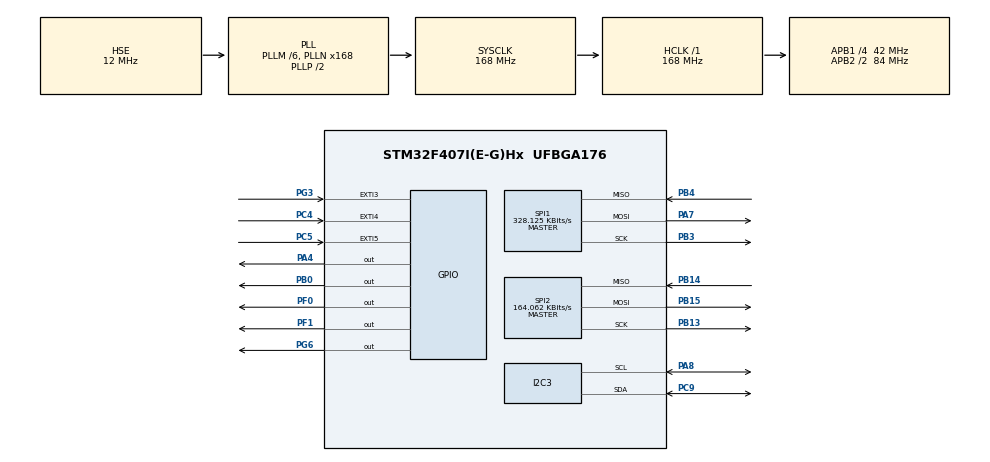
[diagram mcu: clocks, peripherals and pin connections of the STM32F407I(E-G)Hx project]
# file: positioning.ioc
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Dma.Request0=SPI1_RX
Dma.Request1=SPI1_TX
Dma.Request2=SPI2_RX
Dma.Request3=SPI2_TX
Dma.SPI1_RX.0.Direction=DMA_PERIPH_TO_MEMORY
Dma.SPI1_RX.0.FIFOMode=DMA_FIFOMODE_DISABLE
Dma.SPI1_RX.0.Instance=DMA2_Stream2
Dma.SPI1_RX.0.MemDataAlignment=DMA_MDATAALIGN_BYTE
Dma.SPI1_RX.0.MemInc=DMA_MINC_ENABLE
Dma.SPI1_RX.0.Mode=DMA_NORMAL
Dma.SPI1_RX.0.PeriphDataAlignment=DMA_PDATAALIGN_BYTE
Dma.SPI1_RX.0.PeriphInc=DMA_PINC_DISABLE
Dma.SPI1_RX.0.Priority=DMA_PRIORITY_HIGH
Dma.SPI1_TX.1.Direction=DMA_MEMORY_TO_PERIPH
Dma.SPI1_TX.1.FIFOMode=DMA_FIFOMODE_DISABLE
Dma.SPI1_TX.1.Instance=DMA2_Stream3
Dma.SPI1_TX.1.MemDataAlignment=DMA_MDATAALIGN_BYTE
Dma.SPI1_TX.1.MemInc=DMA_MINC_ENABLE
Dma.SPI1_TX.1.Mode=DMA_NORMAL
Dma.SPI1_TX.1.PeriphDataAlignment=DMA_PDATAALIGN_BYTE
Dma.SPI1_TX.1.PeriphInc=DMA_PINC_DISABLE
Dma.SPI1_TX.1.Priority=DMA_PRIORITY_HIGH
Dma.SPI2_RX.2.Direction=DMA_PERIPH_TO_MEMORY
Dma.SPI2_RX.2.FIFOMode=DMA_FIFOMODE_DISABLE
Dma.SPI2_RX.2.Instance=DMA1_Stream3
Dma.SPI2_RX.2.MemDataAlignment=DMA_MDATAALIGN_BYTE
Dma.SPI2_RX.2.MemInc=DMA_MINC_ENABLE
Dma.SPI2_RX.2.Mode=DMA_NORMAL
Dma.SPI2_RX.2.PeriphDataAlignment=DMA_PDATAALIGN_BYTE
Dma.SPI2_RX.2.PeriphInc=DMA_PINC_DISABLE
Dma.SPI2_RX.2.Priority=DMA_PRIORITY_HIGH
Dma.SPI2_TX.3.Direction=DMA_MEMORY_TO_PERIPH
Dma.SPI2_TX.3.FIFOMode=DMA_FIFOMODE_DISABLE
Dma.SPI2_TX.3.Instance=DMA1_Stream4
Dma.SPI2_TX.3.MemDataAlignment=DMA_MDATAALIGN_BYTE
Dma.SPI2_TX.3.MemInc=DMA_MINC_ENABLE
Dma.SPI2_TX.3.Mode=DMA_NORMAL
Dma.SPI2_TX.3.PeriphDataAlignment=DMA_PDATAALIGN_BYTE
Dma.SPI2_TX.3.PeriphInc=DMA_PINC_DISABLE
Dma.SPI2_TX.3.Priority=DMA_PRIORITY_HIGH
FREERTOS.INCLUDE_vTaskDelayUntil=1
FREERTOS.Tasks01=orientationTask,0,1024,StartOrientationTask,Default,NULL,Dynamic,NULL,NULL;positionTask,0,400,StartPositionTask,Default,NULL,Dynamic,NULL,NULL
FREERTOS.configUSE_NEWLIB_REENTRANT=1
I2C3.I2C_Mode=I2C_Fast
Mcu.Family=STM32F4
Mcu.Name=STM32F407I(E-G)Hx
Mcu.Package=UFBGA176
NVIC.EXTI4_IRQn=true\:5\:0\:false\:false\:true\:true\:true\:true
NVIC.EXTI9_5_IRQn=true\:5\:0\:false\:false\:true\:true\:true\:true
NVIC.PriorityGroup=NVIC_PRIORITYGROUP_4
NVIC.TIM1_UP_TIM10_IRQn=true\:15\:0\:false\:false\:true\:false\:false\:true
NVIC.TimeBase=TIM1_UP_TIM10_IRQn
NVIC.TimeBaseIP=TIM1
PA13.Mode=Serial_Wire
PA13.Signal=SYS_JTMS-SWDIO
PA14.Mode=Serial_Wire
PA14.Signal=SYS_JTCK-SWCLK
PA4.GPIO_ModeDefaultOutputPP=GPIO_MODE_OUTPUT_PP
PA4.GPIO_PuPd=GPIO_PULLUP
PA4.GPIO_Speed=GPIO_SPEED_FREQ_HIGH
PA4.PinState=GPIO_PIN_SET
PA4.Signal=GPIO_Output
PA7.GPIO_Mode=GPIO_MODE_AF_PP
PA7.Mode=Full_Duplex_Master
PA7.Signal=SPI1_MOSI
PA8.Mode=I2C
PA8.Signal=I2C3_SCL
PB0.GPIO_ModeDefaultOutputPP=GPIO_MODE_OUTPUT_PP
PB0.GPIO_PuPd=GPIO_PULLUP
PB0.GPIO_Speed=GPIO_SPEED_FREQ_HIGH
PB0.PinState=GPIO_PIN_SET
PB0.Signal=GPIO_Output
PB13.GPIO_Speed=GPIO_SPEED_FREQ_VERY_HIGH
PB13.Mode=Full_Duplex_Master
PB13.Signal=SPI2_SCK
PB14.Mode=Full_Duplex_Master
PB14.Signal=SPI2_MISO
PB15.Mode=Full_Duplex_Master
PB15.Signal=SPI2_MOSI
PB3.Mode=Full_Duplex_Master
PB3.Signal=SPI1_SCK
PB4.Mode=Full_Duplex_Master
PB4.Signal=SPI1_MISO
PC14-OSC32_IN.Mode=LSE-External-Oscillator
PC14-OSC32_IN.Signal=RCC_OSC32_IN
PC15-OSC32_OUT.Mode=LSE-External-Oscillator
PC15-OSC32_OUT.Signal=RCC_OSC32_OUT
PC4.GPIO_ModeDefaultEXTI=GPIO_MODE_IT_FALLING
PC4.GPIO_PuPd=GPIO_PULLUP
PC4.Signal=GPXTI4
PC5.GPIO_ModeDefaultEXTI=GPIO_MODE_IT_FALLING
PC5.GPIO_PuPd=GPIO_PULLUP
PC5.Signal=GPXTI5
PC9.Mode=I2C
PC9.Signal=I2C3_SDA
PF0.GPIO_Speed=GPIO_SPEED_FREQ_HIGH
PF0.PinState=GPIO_PIN_SET
PF0.Signal=GPIO_Output
PF1.GPIO_PuPd=GPIO_NOPULL
PF1.GPIO_Speed=GPIO_SPEED_FREQ_HIGH
PF1.PinState=GPIO_PIN_SET
PF1.Signal=GPIO_Output
PG3.GPIO_PuPd=GPIO_PULLUP
PG3.Signal=GPXTI3
PG6.GPIO_PuPd=GPIO_PULLUP
PG6.GPIO_Speed=GPIO_SPEED_FREQ_MEDIUM
PG6.PinState=GPIO_PIN_SET
PG6.Signal=GPIO_Output
PH0-OSC_IN.Mode=HSE-External-Oscillator
PH0-OSC_IN.Signal=RCC_OSC_IN
PH1-OSC_OUT.Mode=HSE-External-Oscillator
PH1-OSC_OUT.Signal=RCC_OSC_OUT
ProjectManager.HeapSize=0x200
ProjectManager.StackSize=0x400
ProjectManager.TargetToolchain=STM32CubeIDE
RCC.48MHZClocksFreq_Value=84000000
RCC.AHBFreq_Value=168000000
RCC.APB1CLKDivider=RCC_HCLK_DIV4
RCC.APB1Freq_Value=42000000
RCC.APB1TimFreq_Value=84000000
RCC.APB2CLKDivider=RCC_HCLK_DIV2
RCC.APB2Freq_Value=84000000
RCC.APB2TimFreq_Value=168000000
RCC.CortexFreq_Value=168000000
RCC.HCLKFreq_Value=168000000
RCC.HSE_VALUE=12000000
RCC.HSI_VALUE=16000000
RCC.PLLM=6
RCC.PLLN=168
RCC.PLLSourceVirtual=RCC_PLLSOURCE_HSE
RCC.SYSCLKFreq_VALUE=168000000
RCC.SYSCLKSource=RCC_SYSCLKSOURCE_PLLCLK
RCC.VCOOutputFreq_Value=336000000
SPI1.BaudRatePrescaler=SPI_BAUDRATEPRESCALER_256
SPI1.CalculateBaudRate=328.125 KBits/s
SPI1.DataSize=SPI_DATASIZE_8BIT
SPI1.Direction=SPI_DIRECTION_2LINES
SPI1.Mode=SPI_MODE_MASTER
SPI1.VirtualType=VM_MASTER
SPI2.BaudRatePrescaler=SPI_BAUDRATEPRESCALER_256
SPI2.CRCCalculation=SPI_CRCCALCULATION_DISABLE
SPI2.CalculateBaudRate=164.062 KBits/s
SPI2.Direction=SPI_DIRECTION_2LINES
SPI2.Mode=SPI_MODE_MASTER
SPI2.VirtualType=VM_MASTER
TIM6.Prescaler=8
VP_FREERTOS_VS_CMSIS_V1.Mode=CMSIS_V1
VP_SYS_VS_tim1.Mode=TIM1
VP_TIM6_VS_ClockSourceINT.Mode=Enable_Timer
board=custom

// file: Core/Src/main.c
/* USER CODE BEGIN Header */
/**
  ******************************************************************************
  * @file           : main.c
  * @brief          : Main program body
  ******************************************************************************
  * @attention
  *
  * <h2><center>&copy; Copyright (c) 2021 STMicroelectronics.
  * All rights reserved.</center></h2>
  *
  * This software component is licensed by ST under BSD 3-Clause license,
  * the "License"; You may not use this file except in compliance with the
  * License. You may obtain a copy of the License at:
  *                        opensource.org/licenses/BSD-3-Clause
  *
  ******************************************************************************
  */
/* USER CODE END Header */
#include "main.h"
#include "cmsis_os.h"
#include "dma.h"
#include "i2c.h"
#include "spi.h"
#include "tim.h"
#include "gpio.h"

void SystemClock_Config(void);
void MX_FREERTOS_Init(void);

int main(void)
{

  /* MCU Configuration--------------------------------------------------------*/

  /* Reset of all peripherals, Initializes the Flash interface and the Systick. */
  HAL_Init();

  /* Configure the system clock */
  SystemClock_Config();

  /* Initialize all configured peripherals */
  MX_GPIO_Init();
  MX_SPI1_Init();
  MX_DMA_Init();
  MX_SPI2_Init();
  MX_I2C3_Init();
  MX_TIM6_Init();

  /* Call init function for freertos objects (in freertos.c) */
  MX_FREERTOS_Init();
  /* Start scheduler */
  osKernelStart();

  /* We should never get here as control is now taken by the scheduler */
  /* Infinite loop */
  while (1)
  {

    /* USER CODE BEGIN 3 */

	  //PQY13_angle_read(&angle1, &angle2);
	  //PQY13_vel_read(&vel1, &vel2);
	  //HAL_Delay(1);
  }
  /* USER CODE END 3 */
}

void SystemClock_Config(void)
{
  RCC_OscInitTypeDef RCC_OscInitStruct = {0};
  RCC_ClkInitTypeDef RCC_ClkInitStruct = {0};

  /** Configure the main internal regulator output voltage
  */
  __HAL_RCC_PWR_CLK_ENABLE();
  __HAL_PWR_VOLTAGESCALING_CONFIG(PWR_REGULATOR_VOLTAGE_SCALE1);
  /** Initializes the RCC Oscillators according to the specified parameters
  * in the RCC_OscInitTypeDef structure.
  */
  RCC_OscInitStruct.OscillatorType = RCC_OSCILLATORTYPE_HSE;
  RCC_OscInitStruct.HSEState = RCC_HSE_ON;
  RCC_OscInitStruct.PLL.PLLState = RCC_PLL_ON;
  RCC_OscInitStruct.PLL.PLLSource = RCC_PLLSOURCE_HSE;
  RCC_OscInitStruct.PLL.PLLM = 6;
  RCC_OscInitStruct.PLL.PLLN = 168;
  RCC_OscInitStruct.PLL.PLLP = RCC_PLLP_DIV2;
  RCC_OscInitStruct.PLL.PLLQ = 4;
  if (HAL_RCC_OscConfig(&RCC_OscInitStruct) != HAL_OK)
  {
    Error_Handler();
  }
  /** Initializes the CPU, AHB and APB buses clocks
  */
  RCC_ClkInitStruct.ClockType = RCC_CLOCKTYPE_HCLK|RCC_CLOCKTYPE_SYSCLK
                              |RCC_CLOCKTYPE_PCLK1|RCC_CLOCKTYPE_PCLK2;
  RCC_ClkInitStruct.SYSCLKSource = RCC_SYSCLKSOURCE_PLLCLK;
  RCC_ClkInitStruct.AHBCLKDivider = RCC_SYSCLK_DIV1;
  RCC_ClkInitStruct.APB1CLKDivider = RCC_HCLK_DIV4;
  RCC_ClkInitStruct.APB2CLKDivider = RCC_HCLK_DIV2;

  if (HAL_RCC_ClockConfig(&RCC_ClkInitStruct, FLASH_LATENCY_5) != HAL_OK)
  {
    Error_Handler();
  }
}

void HAL_TIM_PeriodElapsedCallback(TIM_HandleTypeDef *htim)
{
  if (htim->Instance == TIM1) {
    HAL_IncTick();
  }
}

void Error_Handler(void)
{
  __disable_irq();
  while (1)
  {
  }
}

/************************ (C) COPYRIGHT STMicroelectronics *****END OF FILE****/

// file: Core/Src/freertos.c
/* USER CODE BEGIN Header */
/**
  ******************************************************************************
  * File Name          : freertos.c
  * Description        : Code for freertos applications
  ******************************************************************************
  * @attention
  *
  * <h2><center>&copy; Copyright (c) 2021 STMicroelectronics.
  * All rights reserved.</center></h2>
  *
  * This software component is licensed by ST under Ultimate Liberty license
  * SLA0044, the "License"; You may not use this file except in compliance with
  * the License. You may obtain a copy of the License at:
  *                             www.st.com/SLA0044
  *
  ******************************************************************************
  */
/* USER CODE END Header */

#include "FreeRTOS.h"
#include "task.h"
#include "main.h"
#include "cmsis_os.h"

/* USER CODE BEGIN Includes */
#include "Fusion.h"
#include "ist8310driver.h"
#include "BMI088driver.h"
#include "PQY13driver.h"
#include "CompileConfig.h"
#include "struct_typedef.h"
/* USER CODE END Includes */

/* USER CODE BEGIN Variables */
FusionBias fusionBias;
FusionAhrs fusionAhrs;
fp32 samplePeriod = 0.01f;
/* sensitivity of the gyroscope, values are in degrees per second per lsb
  * the range of the gyroscope is 2000, the value in lsb per degrees per second is 16.384
  */
static FusionVector3 gyroscopeSensitivity = {
	.axis.x = 6.10352e-2f,
	.axis.y = 6.10352e-2f,
	.axis.z = 6.10352e-2f,
};
/* sensitivity of the accelerometer, values are in g per lsb
  * the range of the accelerometer is 3G, the value in lsb per g is 10920
  */
static FusionVector3 accelerometerSensitivity = {
	.axis.x = 9.15751e-5f,
	.axis.y = 9.15751e-5f,
	.axis.z = 9.15751e-5f,
};
/* replace these values with actual hard-iron bias in uT if known */
static FusionVector3 hardIronBias = {
	.axis.x = 0.0f,
	.axis.y = 0.0f,
	.axis.z = 0.0f,
};
fp32 gyro[3], accel[3], mag[3], tem;
FusionEulerAngles eulerAngles;
/* USER CODE END Variables */
osThreadId orientationTaskHandle;
osThreadId positionTaskHandle;

void StartOrientationTask(void const * argument);
void StartPositionTask(void const * argument);

void MX_FREERTOS_Init(void); /* (MISRA C 2004 rule 8.1) */

/* GetIdleTaskMemory prototype (linked to static allocation support) */
void vApplicationGetIdleTaskMemory( StaticTask_t **ppxIdleTaskTCBBuffer, StackType_t **ppxIdleTaskStackBuffer, uint32_t *pulIdleTaskStackSize );

/* USER CODE BEGIN GET_IDLE_TASK_MEMORY */
static StaticTask_t xIdleTaskTCBBuffer;
static StackType_t xIdleStack[configMINIMAL_STACK_SIZE];

void vApplicationGetIdleTaskMemory( StaticTask_t **ppxIdleTaskTCBBuffer, StackType_t **ppxIdleTaskStackBuffer, uint32_t *pulIdleTaskStackSize )
{
  *ppxIdleTaskTCBBuffer = &xIdleTaskTCBBuffer;
  *ppxIdleTaskStackBuffer = &xIdleStack[0];
  *pulIdleTaskStackSize = configMINIMAL_STACK_SIZE;
  /* place for user code */
}
/* USER CODE END GET_IDLE_TASK_MEMORY */

void MX_FREERTOS_Init(void) {
  /* USER CODE BEGIN Init */
	while(BMI088_init());
	while(ist8310_init());
	FusionBiasInitialise(&fusionBias, 0.5f, samplePeriod);  // stationary threshold = 0.5 degrees per second
	FusionAhrsInitialise(&fusionAhrs, 0.5f);  // gain = 0.5
	FusionAhrsSetMagneticField(&fusionAhrs, 20.0f, 70.0f);  // valid magnetic field range = 20 uT to 70 uT
  /* USER CODE END Init */

  /* Create the thread(s) */
  /* definition and creation of orientationTask */
  osThreadDef(orientationTask, StartOrientationTask, osPriorityNormal, 0, 1024);
  orientationTaskHandle = osThreadCreate(osThread(orientationTask), NULL);

  /* definition and creation of positionTask */
  osThreadDef(positionTask, StartPositionTask, osPriorityNormal, 0, 400);
  positionTaskHandle = osThreadCreate(osThread(positionTask), NULL);

}

/* USER CODE BEGIN Header_StartOrientationTask */
/**
  * @brief  Function implementing the orientationTask thread.
  * @param  argument: Not used
  * @retval None
  *
  */
/* USER CODE END Header_StartOrientationTask */
void StartOrientationTask(void const * argument)
{
  /* USER CODE BEGIN StartOrientationTask */
  TickType_t xLastWakeTime;
  const TickType_t xFrequency = 1000 * samplePeriod;
  xLastWakeTime = xTaskGetTickCount();
  /* Infinite loop */
  for(;;)
  {
	  BMI088_read(gyro, accel, &tem);
	  ist8310_read_mag(mag);
	  // Calibrate gyroscope
	  FusionVector3 uncalibratedGyroscope = {
		  .axis.x = gyro[0], /* replace this value with actual gyroscope x axis measurement in lsb */
		  .axis.y = gyro[1], /* replace this value with actual gyroscope y axis measurement in lsb */
		  .axis.z = gyro[2], /* replace this value with actual gyroscope z axis measurement in lsb */
	  };
	  FusionVector3 calibratedGyroscope = FusionCalibrationInertial(uncalibratedGyroscope, FUSION_ROTATION_MATRIX_IDENTITY, gyroscopeSensitivity, FUSION_VECTOR3_ZERO);

	  // Calibrate accelerometer
	  FusionVector3 uncalibratedAccelerometer = {
		  .axis.x = accel[0], /* replace this value with actual accelerometer x axis measurement in lsb */
		  .axis.y = accel[1], /* replace this value with actual accelerometer y axis measurement in lsb */
		  .axis.z = accel[2], /* replace this value with actual accelerometer z axis measurement in lsb */
	  };
	  FusionVector3 calibratedAccelerometer = FusionCalibrationInertial(uncalibratedAccelerometer, FUSION_ROTATION_MATRIX_IDENTITY, accelerometerSensitivity, FUSION_VECTOR3_ZERO);

	  // Calibrate magnetometer
	  FusionVector3 uncalibratedMagnetometer = {
		  .axis.x = mag[0], /* replace this value with actual magnetometer x axis measurement in uT */
		  .axis.y = mag[1], /* replace this value with actual magnetometer y axis measurement in uT */
		  .axis.z = mag[2], /* replace this value with actual magnetometer z axis measurement in uT */
	  };
	  FusionVector3 calibratedMagnetometer = FusionCalibrationMagnetic(uncalibratedMagnetometer, FUSION_ROTATION_MATRIX_IDENTITY, hardIronBias);

	  // Update gyroscope bias correction algorithm
	  calibratedGyroscope = FusionBiasUpdate(&fusionBias, calibratedGyroscope);

	  // Update AHRS algorithm
	  FusionAhrsUpdate(&fusionAhrs, calibratedGyroscope, calibratedAccelerometer, calibratedMagnetometer, samplePeriod);
	  eulerAngles = FusionQuaternionToEulerAngles(FusionAhrsGetQuaternion(&fusionAhrs));
	  vTaskDelayUntil(&xLastWakeTime, xFrequency);  // task stack size should set to 1024, other wise the stack will overflow and cause bug at this line.
  }
  /* USER CODE END StartOrientationTask */
}

void StartPositionTask(void const * argument)
{
  /* USER CODE BEGIN StartPositionTask */
  /* Infinite loop */
  for(;;)
  {
    vTaskDelay(1);
  }
  /* USER CODE END StartPositionTask */
}

/************************ (C) COPYRIGHT STMicroelectronics *****END OF FILE****/
